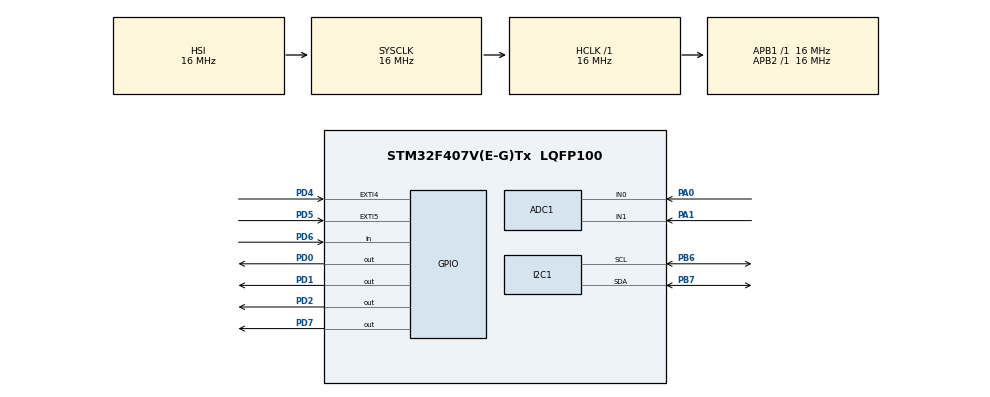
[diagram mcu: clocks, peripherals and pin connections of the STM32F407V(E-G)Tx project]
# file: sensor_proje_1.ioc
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ADC1.Channel-0\#ChannelRegularConversion=ADC_CHANNEL_0
ADC1.NbrOfConversionFlag=1
ADC1.Rank-0\#ChannelRegularConversion=1
ADC1.SamplingTime-0\#ChannelRegularConversion=ADC_SAMPLETIME_3CYCLES
ADC1.master=1
Mcu.Family=STM32F4
Mcu.Name=STM32F407V(E-G)Tx
Mcu.Package=LQFP100
NVIC.EXTI4_IRQn=true\:0\:0\:false\:false\:true\:true\:true\:true
NVIC.EXTI9_5_IRQn=true\:0\:0\:false\:false\:true\:true\:true\:true
NVIC.PriorityGroup=NVIC_PRIORITYGROUP_4
PA0-WKUP.Signal=ADCx_IN0
PA1.Signal=ADCx_IN1
PB6.Mode=I2C
PB6.Signal=I2C1_SCL
PB7.Mode=I2C
PB7.Signal=I2C1_SDA
PD0.Signal=GPIO_Output
PD1.Signal=GPIO_Output
PD2.Signal=GPIO_Output
PD4.Signal=GPXTI4
PD5.Signal=GPXTI5
PD6.Signal=GPIO_Input
PD7.Signal=GPIO_Output
ProjectManager.HeapSize=0x200
ProjectManager.StackSize=0x400
ProjectManager.TargetToolchain=STM32CubeIDE
RCC.AHBFreq_Value=16000000
RCC.APB1Freq_Value=16000000
RCC.APB2Freq_Value=16000000
RCC.CortexFreq_Value=16000000
RCC.HSE_VALUE=25000000
RCC.HSI_VALUE=16000000
RCC.LSE_VALUE=32768
RCC.SYSCLKFreq_VALUE=16000000
RCC.VCOOutputFreq_Value=192000000
SH.ADCx_IN0.0=ADC1_IN0,IN0
SH.ADCx_IN1.0=ADC1_IN1,IN1
board=custom

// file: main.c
/* USER CODE BEGIN Header */
/**
  ******************************************************************************
  * @file           : main.c
  * @brief          : Main program body
  ******************************************************************************
  * @attention
  *
  * Copyright (c) 2026 STMicroelectronics.
  * All rights reserved.
  *
  * This software is licensed under terms that can be found in the LICENSE file
  * in the root directory of this software component.
  * If no LICENSE file comes with this software, it is provided AS-IS.
  *
  ******************************************************************************
  */
/* USER CODE END Header */
#include "main.h"

/* USER CODE BEGIN Includes */
#include <stdio.h>
#include "ssd1306.h"
#include "fonts.h"
#include <math.h>
/* USER CODE END Includes */

ADC_HandleTypeDef hadc1;

I2C_HandleTypeDef hi2c1;

/* USER CODE BEGIN PV */
uint32_t last_pd4_time = 0;
uint32_t last_pd5_time = 0;
uint16_t ldr_degeri = 0;
uint16_t ntc_degeri = 0;
char ekran_yazisi[30];

int menu_durumu = 0;
int secili_satir = 0;
/* USER CODE END PV */

void SystemClock_Config(void);
static void MX_GPIO_Init(void);
static void MX_ADC1_Init(void);
static void MX_I2C1_Init(void);

/* USER CODE BEGIN 0 */
float ntc_sicaklik_hesapla(uint16_t adc_deger)
{
    float R_FIXED = 10000.0;
    float BETA    = 3950.0;
    float T0      = 298.15;
    float R0      = 10000.0;

    if (adc_deger < 10) adc_deger = 10;
    if (adc_deger > 4085) adc_deger = 4085;

    float voltaj = (adc_deger / 4095.0f) * 3.3f;
    float R_NTC  = R_FIXED * (3.3f - voltaj) / voltaj;

    float T_kelvin  = 1.0f / ((1.0f/T0) + (1.0f/BETA) * logf(R_NTC/R0));
    return T_kelvin - 273.15f;
}
/* USER CODE END 0 */

int main(void)
{

  /* MCU Configuration--------------------------------------------------------*/

  /* Reset of all peripherals, Initializes the Flash interface and the Systick. */
  HAL_Init();

  /* Configure the system clock */
  SystemClock_Config();

  /* Initialize all configured peripherals */
  MX_GPIO_Init();
  MX_ADC1_Init();
  MX_I2C1_Init();
  /* USER CODE BEGIN 2 */
  ssd1306_Init(&hi2c1);
  /* USER CODE END 2 */

  /* Infinite loop */
  while (1)
  {

    /* USER CODE BEGIN 3 */
	  ADC_ChannelConfTypeDef sConfig = {0};
	  sConfig.Rank = 1;
	  sConfig.SamplingTime = ADC_SAMPLETIME_3CYCLES;

	  sConfig.Channel = ADC_CHANNEL_0;   // LDR -> PA0
	  HAL_ADC_ConfigChannel(&hadc1, &sConfig);
	  HAL_ADC_Start(&hadc1);
	  HAL_ADC_PollForConversion(&hadc1, 100);
	  ldr_degeri = 4095 - HAL_ADC_GetValue(&hadc1);
	  HAL_ADC_Stop(&hadc1);

	  sConfig.Channel = ADC_CHANNEL_1;   // NTC -> PA1
	  HAL_ADC_ConfigChannel(&hadc1, &sConfig);
	  HAL_ADC_Start(&hadc1);
	  HAL_ADC_PollForConversion(&hadc1, 100);
	  ntc_degeri = HAL_ADC_GetValue(&hadc1);
	  HAL_ADC_Stop(&hadc1);

	  if (ldr_degeri < 500) {
	      HAL_GPIO_WritePin(GPIOD, GPIO_PIN_0, GPIO_PIN_SET);
	      HAL_GPIO_WritePin(GPIOD, GPIO_PIN_1, GPIO_PIN_RESET);
	      HAL_GPIO_WritePin(GPIOD, GPIO_PIN_2, GPIO_PIN_RESET);
	  }
	  else if (ldr_degeri >= 500 && ldr_degeri <= 1000) {
	      HAL_GPIO_WritePin(GPIOD, GPIO_PIN_0, GPIO_PIN_RESET);
	      HAL_GPIO_WritePin(GPIOD, GPIO_PIN_1, GPIO_PIN_RESET);
	      HAL_GPIO_WritePin(GPIOD, GPIO_PIN_2, GPIO_PIN_SET);
	  }
	  else {
	      HAL_GPIO_WritePin(GPIOD, GPIO_PIN_0, GPIO_PIN_RESET);
	      HAL_GPIO_WritePin(GPIOD, GPIO_PIN_1, GPIO_PIN_SET);
	      HAL_GPIO_WritePin(GPIOD, GPIO_PIN_2, GPIO_PIN_RESET);
	  }

	  float sicaklik = ntc_sicaklik_hesapla(ntc_degeri);
	  if (sicaklik > 40.0f) {
	      HAL_GPIO_WritePin(GPIOD, GPIO_PIN_7, GPIO_PIN_SET);
	  }
	  else {
	      HAL_GPIO_WritePin(GPIOD, GPIO_PIN_7, GPIO_PIN_RESET);
	  }

	  ssd1306_Fill(Black);

	  if (menu_durumu == 0) {
	      ssd1306_SetCursor(10, 0);
	      if(secili_satir == 0) ssd1306_WriteString("> Sicaklik", Font_7x10, White);
	      else                  ssd1306_WriteString("  Sicaklik", Font_7x10, White);

	      ssd1306_SetCursor(10, 16);
	      if(secili_satir == 1) ssd1306_WriteString("> Isik", Font_7x10, White);
	      else                  ssd1306_WriteString("  Isik", Font_7x10, White);
	  }
	  else if (menu_durumu == 1) {

	      int tam = (int)sicaklik;
	      int ondalik = (int)((sicaklik - tam) * 10);
	      if (ondalik < 0) ondalik = -ondalik;
	      sprintf(ekran_yazisi, "T:%d.%d ADC:%d", tam, ondalik, ntc_degeri);
	      ssd1306_SetCursor(5, 0);
	      ssd1306_WriteString(ekran_yazisi, Font_7x10, White);

	      ssd1306_SetCursor(5, 16);
	      if(sicaklik > 40.0f)      ssd1306_WriteString("Durum: KRITIK", Font_7x10, White);
	      else if(sicaklik > 30.0f) ssd1306_WriteString("Durum: ORTA", Font_7x10, White);
	      else                      ssd1306_WriteString("Durum: NORMAL", Font_7x10, White);
	  }
	  else if (menu_durumu == 2) {
	      int isik_yuzde = (ldr_degeri * 100) / 4095;
	      sprintf(ekran_yazisi, "Isik: %%%d", isik_yuzde);
	      ssd1306_SetCursor(5, 0);
	      ssd1306_WriteString(ekran_yazisi, Font_7x10, White);

	      ssd1306_SetCursor(5, 16);
	      if(isik_yuzde > 80)      ssd1306_WriteString("Durum: COK", Font_7x10, White);
	      else if(isik_yuzde > 40) ssd1306_WriteString("Durum: NORMAL", Font_7x10, White);
	      else                     ssd1306_WriteString("Durum: AZ", Font_7x10, White);
	  }

	  ssd1306_UpdateScreen(&hi2c1);
	  HAL_Delay(100);
  }
  /* USER CODE END 3 */
}

void SystemClock_Config(void)
{
  RCC_OscInitTypeDef RCC_OscInitStruct = {0};
  RCC_ClkInitTypeDef RCC_ClkInitStruct = {0};

  /** Configure the main internal regulator output voltage
  */
  __HAL_RCC_PWR_CLK_ENABLE();
  __HAL_PWR_VOLTAGESCALING_CONFIG(PWR_REGULATOR_VOLTAGE_SCALE1);

  /** Initializes the RCC Oscillators according to the specified parameters
  * in the RCC_OscInitTypeDef structure.
  */
  RCC_OscInitStruct.OscillatorType = RCC_OSCILLATORTYPE_HSI;
  RCC_OscInitStruct.HSIState = RCC_HSI_ON;
  RCC_OscInitStruct.HSICalibrationValue = RCC_HSICALIBRATION_DEFAULT;
  RCC_OscInitStruct.PLL.PLLState = RCC_PLL_NONE;
  if (HAL_RCC_OscConfig(&RCC_OscInitStruct) != HAL_OK)
  {
    Error_Handler();
  }

  /** Initializes the CPU, AHB and APB buses clocks
  */
  RCC_ClkInitStruct.ClockType = RCC_CLOCKTYPE_HCLK|RCC_CLOCKTYPE_SYSCLK
                              |RCC_CLOCKTYPE_PCLK1|RCC_CLOCKTYPE_PCLK2;
  RCC_ClkInitStruct.SYSCLKSource = RCC_SYSCLKSOURCE_HSI;
  RCC_ClkInitStruct.AHBCLKDivider = RCC_SYSCLK_DIV1;
  RCC_ClkInitStruct.APB1CLKDivider = RCC_HCLK_DIV1;
  RCC_ClkInitStruct.APB2CLKDivider = RCC_HCLK_DIV1;

  if (HAL_RCC_ClockConfig(&RCC_ClkInitStruct, FLASH_LATENCY_0) != HAL_OK)
  {
    Error_Handler();
  }
}

static void MX_ADC1_Init(void)
{

  ADC_ChannelConfTypeDef sConfig = {0};

  /** Configure the global features of the ADC (Clock, Resolution, Data Alignment and number of conversion)
  */
  hadc1.Instance = ADC1;
  hadc1.Init.ClockPrescaler = ADC_CLOCK_SYNC_PCLK_DIV2;
  hadc1.Init.Resolution = ADC_RESOLUTION_12B;
  hadc1.Init.ScanConvMode = DISABLE;
  hadc1.Init.ContinuousConvMode = DISABLE;
  hadc1.Init.DiscontinuousConvMode = DISABLE;
  hadc1.Init.ExternalTrigConvEdge = ADC_EXTERNALTRIGCONVEDGE_NONE;
  hadc1.Init.ExternalTrigConv = ADC_SOFTWARE_START;
  hadc1.Init.DataAlign = ADC_DATAALIGN_RIGHT;
  hadc1.Init.NbrOfConversion = 1;
  hadc1.Init.DMAContinuousRequests = DISABLE;
  hadc1.Init.EOCSelection = ADC_EOC_SINGLE_CONV;
  if (HAL_ADC_Init(&hadc1) != HAL_OK)
  {
    Error_Handler();
  }

  /** Configure for the selected ADC regular channel its corresponding rank in the sequencer and its sample time.
  */
  sConfig.Channel = ADC_CHANNEL_0;
  sConfig.Rank = 1;
  sConfig.SamplingTime = ADC_SAMPLETIME_3CYCLES;
  if (HAL_ADC_ConfigChannel(&hadc1, &sConfig) != HAL_OK)
  {
    Error_Handler();
  }

}

static void MX_I2C1_Init(void)
{

  hi2c1.Instance = I2C1;
  hi2c1.Init.ClockSpeed = 100000;
  hi2c1.Init.DutyCycle = I2C_DUTYCYCLE_2;
  hi2c1.Init.OwnAddress1 = 0;
  hi2c1.Init.AddressingMode = I2C_ADDRESSINGMODE_7BIT;
  hi2c1.Init.DualAddressMode = I2C_DUALADDRESS_DISABLE;
  hi2c1.Init.OwnAddress2 = 0;
  hi2c1.Init.GeneralCallMode = I2C_GENERALCALL_DISABLE;
  hi2c1.Init.NoStretchMode = I2C_NOSTRETCH_DISABLE;
  if (HAL_I2C_Init(&hi2c1) != HAL_OK)
  {
    Error_Handler();
  }

}

static void MX_GPIO_Init(void)
{
  GPIO_InitTypeDef GPIO_InitStruct = {0};

  /* GPIO Ports Clock Enable */
  __HAL_RCC_GPIOA_CLK_ENABLE();
  __HAL_RCC_GPIOD_CLK_ENABLE();
  __HAL_RCC_GPIOB_CLK_ENABLE();

  /*Configure GPIO pin Output Level */
  HAL_GPIO_WritePin(GPIOD, GPIO_PIN_0|GPIO_PIN_1|GPIO_PIN_2|GPIO_PIN_7, GPIO_PIN_RESET);

  /*Configure GPIO pins : PD0 PD1 PD2 PD7 */
  GPIO_InitStruct.Pin = GPIO_PIN_0|GPIO_PIN_1|GPIO_PIN_2|GPIO_PIN_7;
  GPIO_InitStruct.Mode = GPIO_MODE_OUTPUT_PP;
  GPIO_InitStruct.Pull = GPIO_NOPULL;
  GPIO_InitStruct.Speed = GPIO_SPEED_FREQ_LOW;
  HAL_GPIO_Init(GPIOD, &GPIO_InitStruct);

  /*Configure GPIO pins : PD4 PD5 */
  GPIO_InitStruct.Pin = GPIO_PIN_4|GPIO_PIN_5;
  GPIO_InitStruct.Mode = GPIO_MODE_IT_RISING;
  GPIO_InitStruct.Pull = GPIO_PULLUP;
  HAL_GPIO_Init(GPIOD, &GPIO_InitStruct);

  /*Configure GPIO pin : PD6 */
  GPIO_InitStruct.Pin = GPIO_PIN_6;
  GPIO_InitStruct.Mode = GPIO_MODE_INPUT;
  GPIO_InitStruct.Pull = GPIO_PULLUP;
  HAL_GPIO_Init(GPIOD, &GPIO_InitStruct);

  /* EXTI interrupt init*/
  HAL_NVIC_SetPriority(EXTI4_IRQn, 0, 0);
  HAL_NVIC_EnableIRQ(EXTI4_IRQn);

  HAL_NVIC_SetPriority(EXTI9_5_IRQn, 0, 0);
  HAL_NVIC_EnableIRQ(EXTI9_5_IRQn);

  /* USER CODE BEGIN MX_GPIO_Init_2 */
  /* USER CODE BEGIN MX_GPIO_Init_2 */
  GPIO_InitStruct.Pin = GPIO_PIN_1;
  GPIO_InitStruct.Mode = GPIO_MODE_ANALOG;
  GPIO_InitStruct.Pull = GPIO_NOPULL;
  HAL_GPIO_Init(GPIOA, &GPIO_InitStruct);
  /* USER CODE END MX_GPIO_Init_2 */
  /* USER CODE END MX_GPIO_Init_2 */
}

/* USER CODE BEGIN 4 */
void HAL_GPIO_EXTI_Callback(uint16_t GPIO_Pin)
{
    uint32_t now = HAL_GetTick();

    if(GPIO_Pin == GPIO_PIN_4)
    {
        if(now - last_pd4_time > 200)
        {
            last_pd4_time = now;
            if(menu_durumu == 0)
            {
                if(secili_satir == 0) menu_durumu = 1;
                else if(secili_satir == 1) menu_durumu = 2;
            }
            else
            {
                menu_durumu = 0;
            }
        }
    }

    if(GPIO_Pin == GPIO_PIN_5)
    {
        if(now - last_pd5_time > 200)
        {
            last_pd5_time = now;
            if(HAL_GPIO_ReadPin(GPIOD, GPIO_PIN_6) == GPIO_PIN_RESET) {
                secili_satir = 1;
            } else {
                secili_satir = 0;
            }
        }
    }
}
/* USER CODE END 4 */

void Error_Handler(void)
{
  __disable_irq();
  while (1)
  {
  }
}
